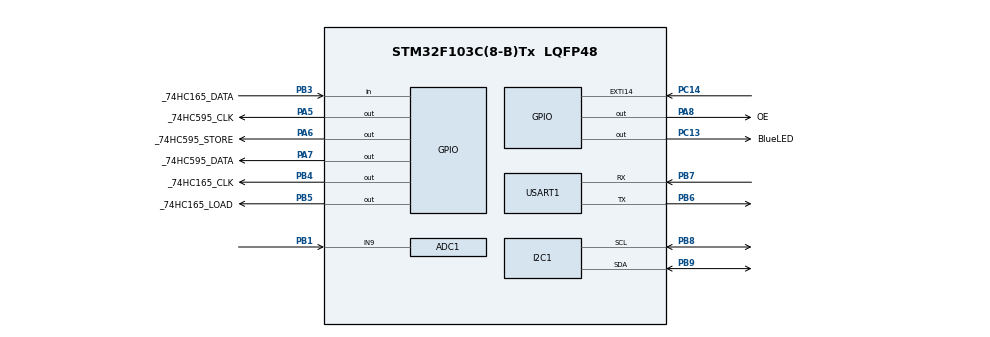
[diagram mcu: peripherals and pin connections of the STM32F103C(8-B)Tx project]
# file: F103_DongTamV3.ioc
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ADC1.Channel-0\#ChannelRegularConversion=ADC_CHANNEL_9
ADC1.NbrOfConversionFlag=1
ADC1.Rank-0\#ChannelRegularConversion=1
ADC1.SamplingTime-0\#ChannelRegularConversion=ADC_SAMPLETIME_1CYCLE_5
ADC1.master=1
IWDG.Prescaler=IWDG_PRESCALER_16
IWDG.Reload=2500-1
Mcu.Family=STM32F1
Mcu.Name=STM32F103C(8-B)Tx
Mcu.Package=LQFP48
NVIC.EXTI15_10_IRQn=true\:0\:0\:false\:false\:true\:true\:true\:true
NVIC.PriorityGroup=NVIC_PRIORITYGROUP_4
NVIC.TIM3_IRQn=true\:0\:0\:false\:false\:true\:true\:true\:true
NVIC.USART1_IRQn=true\:0\:0\:false\:false\:true\:true\:true\:true
PA13.Mode=Serial_Wire
PA13.Signal=SYS_JTMS-SWDIO
PA14.Mode=Serial_Wire
PA14.Signal=SYS_JTCK-SWCLK
PA5.GPIO_Label=_74HC595_CLK
PA5.Signal=GPIO_Output
PA6.GPIO_Label=_74HC595_STORE
PA6.Signal=GPIO_Output
PA7.GPIO_Label=_74HC595_DATA
PA7.Signal=GPIO_Output
PA8.GPIO_Label=OE
PA8.Signal=GPIO_Output
PB1.Signal=ADCx_IN9
PB3.GPIO_Label=_74HC165_DATA
PB3.Signal=GPIO_Input
PB4.GPIO_Label=_74HC165_CLK
PB4.Signal=GPIO_Output
PB5.GPIO_Label=_74HC165_LOAD
PB5.Signal=GPIO_Output
PB6.Mode=Asynchronous
PB6.Signal=USART1_TX
PB7.Mode=Asynchronous
PB7.Signal=USART1_RX
PB8.Mode=I2C
PB8.Signal=I2C1_SCL
PB9.Mode=I2C
PB9.Signal=I2C1_SDA
PC13-TAMPER-RTC.GPIO_Label=BlueLED
PC13-TAMPER-RTC.Signal=GPIO_Output
PC14-OSC32_IN.GPIO_ModeDefaultEXTI=GPIO_MODE_IT_FALLING
PC14-OSC32_IN.Signal=GPXTI14
ProjectManager.HeapSize=0x200
ProjectManager.StackSize=0x400
ProjectManager.TargetToolchain=STM32CubeIDE
RCC.APB1Freq_Value=8000000
RCC.APB2Freq_Value=8000000
SH.ADCx_IN9.0=ADC1_IN9,IN9
TIM3.Period=10000-1
TIM3.Prescaler=8-1
USART1.VirtualMode=VM_ASYNC
VP_IWDG_VS_IWDG.Mode=IWDG_Activate
VP_TIM3_VS_ClockSourceINT.Mode=Internal
board=custom

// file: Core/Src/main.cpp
/* USER CODE BEGIN Header */
/**
 ******************************************************************************
 * @file           : main.c
 * @brief          : Main program body
 ******************************************************************************
 * @attention
 *
 * Copyright (c) 2024 STMicroelectronics.
 * All rights reserved.
 *
 * This software is licensed under terms that can be found in the LICENSE file
 * in the root directory of this software component.
 * If no LICENSE file comes with this software, it is provided AS-IS.
 *
 ******************************************************************************
 */
/* USER CODE END Header */
#include "main.h"

/* USER CODE BEGIN Includes */
#include <Protocol.h>
#include "string.h"
#include "74HC595.h"
#include "74HC165.h"
#include "AMS5915.h"
#include <ValveControlProcess.h>
#include "PCF8563.h"
#include "MessageHandle.h"
#include "RTC_Format.h"
/* USER CODE END Includes */

/* USER CODE BEGIN PTD */
#define UPDATE_TIME_RTC_TICK 3600
/* USER CODE END PTD */

ADC_HandleTypeDef hadc1;

I2C_HandleTypeDef hi2c1;

IWDG_HandleTypeDef hiwdg;

TIM_HandleTypeDef htim3;

UART_HandleTypeDef huart1;

/* USER CODE BEGIN PV */
uint8_t a[1] = {0};
ValveControl vc;
PCF8563 pcf;
AMS5915 ams;
RTC_t tCurrent, tPCF8563;
extern MessageHandle mesg;
uint32_t rtcTick_s = 0;
uint8_t pressureCount = 0;
uint8_t rtcCount = 0;
bool enableGetRTC = false;
bool enableSetRTC = false;
bool error = false;
ValveFeedback vf;
/* USER CODE END PV */

void SystemClock_Config(void);
static void MX_GPIO_Init(void);
static void MX_TIM3_Init(void);
static void MX_USART1_UART_Init(void);
static void MX_ADC1_Init(void);
static void MX_I2C1_Init(void);
static void MX_IWDG_Init(void);

/* USER CODE BEGIN 0 */
RTC_t GetCurrentTimeFromTick(RTC_t timeFromRTC, uint32_t tick) {
	RTC_t currentRTC;
	currentRTC.second = timeFromRTC.second;
	currentRTC.minute = timeFromRTC.minute;
	currentRTC.hour = timeFromRTC.hour;
	currentRTC.day = timeFromRTC.day;
	currentRTC.weekday = timeFromRTC.weekday;
	currentRTC.month = timeFromRTC.month;
	currentRTC.year = timeFromRTC.year;

	currentRTC.second += RTC_ConvertTickElapsedToSecond(tick);
	currentRTC.minute += RTC_ConvertTickElapsedToMinute(tick);
	currentRTC.hour += RTC_ConvertTickElapsedToHour(tick);

	if (currentRTC.second > 59) {
		currentRTC.second -= 60;
		currentRTC.minute++;
	}
	if (currentRTC.minute > 59) {
		currentRTC.minute -= 60;
		currentRTC.hour++;
	}
	if (currentRTC.hour > 23) {
		currentRTC.hour -= 24;
		currentRTC.day++;
		currentRTC.weekday++;
	}
	return currentRTC;
}

void HAL_UART_RxCpltCallback(UART_HandleTypeDef *huart) {
	mesg.HandleFramDataInterrupt(huart);
}

void HAL_UART_ErrorCallback(UART_HandleTypeDef *huart) {
	error = 1;
	if (huart == &huart1) {
		__HAL_UART_CLEAR_OREFLAG(huart);
		__HAL_UART_DISABLE(huart);

	}
}

void HAL_GPIO_EXTI_Callback(uint16_t GPIO_Pin) {
	if (GPIO_Pin == GPIO_PIN_14) {
		// one tick = 1 second
		if (rtcTick_s > UPDATE_TIME_RTC_TICK) {
			tPCF8563 = pcf.ReadTimeRegisters();
			rtcTick_s = 0;
		}
		else
			rtcTick_s++;
	}
}

void HAL_TIM_PeriodElapsedCallback(TIM_HandleTypeDef *htim) {
	if (htim->Instance == TIM3) {
		if (vc.IsOnProcess())
			vc.IncreaseTick();
		rtcCount++;
		pressureCount++;
		if (rtcCount >= 100) {
			tCurrent = GetCurrentTimeFromTick(tPCF8563, rtcTick_s);
			mesg.SendFrame((uint8_t) PROTOCOL_ID_RTC_TIME, SET_DATA_TO_THIS_DEVICE);
			rtcCount = 0;
		}
		if (pressureCount >= 150) {
			float pressureAMS5915 = ams.GetPressure();
			HAL_ADC_Start(&hadc1);
			float pressureSP100 = (float) HAL_ADC_GetValue(&hadc1) / (float) 4096;
			mesg.UpdatePressureAndSend(&huart1, pressureAMS5915, pressureSP100);
			pressureCount = 0;
		}
	}
}

void EnableGetRTC() {
	if (enableGetRTC) {
		tPCF8563 = pcf.ReadTimeRegisters();
		enableGetRTC = false;
	}
}

void EnableSetRTC() {
	if (enableSetRTC) {
		pcf.WriteTimeRegisters(tPCF8563);
		enableSetRTC = false;
	}
}

/* USER CODE END 0 */

int main(void) {

	/* MCU Configuration--------------------------------------------------------*/

	/* Reset of all peripherals, Initializes the Flash interface and the Systick. */
	HAL_Init();

	/* Configure the system clock */
	SystemClock_Config();

	/* Initialize all configured peripherals */
	MX_GPIO_Init();
	MX_TIM3_Init();
	MX_USART1_UART_Init();
	MX_ADC1_Init();
	MX_I2C1_Init();
	MX_IWDG_Init();
	/* USER CODE BEGIN 2 */
	ams.Begin(&hi2c1);
	pcf.Begin(&hi2c1);
	tPCF8563 = pcf.ReadTimeRegisters();
	mesg.Begin(&huart1, NULL);
	mesg.RegisterArgument((void*) &tCurrent, sizeof(RTC_t), PROTOCOL_ID_RTC_TIME);
	vf.GetInputValue();
//	vc.StartValveProcess();
	HAL_TIM_Base_Start_IT(&htim3);
	HAL_GPIO_WritePin(BlueLED_GPIO_Port, BlueLED_Pin, GPIO_PIN_SET);
	HAL_Delay(500);
	HAL_GPIO_WritePin(BlueLED_GPIO_Port, BlueLED_Pin, GPIO_PIN_RESET);
	/* USER CODE END 2 */

	/* Infinite loop */
	/* USER CODE BEGIN WHILE */
	while (1) {
		HAL_IWDG_Refresh(&hiwdg);
		vc.ValveProcessRun();
		if (vc.IsAllowToSendValveData() == true) {
			ValveData vData;
			vData.valveStatus = vc.GetValveStatus();
			vData.currentValveTrigger = vc.GetCurrentTriggerValve();
			mesg.SendFrame((void*) &vData, sizeof(ValveData), PROTOCOL_ID_VALVE, SET_DATA_TO_THIS_DEVICE);
			vc.NotAllowSendValveData();
		}
		EnableGetRTC();
		EnableSetRTC();
		if ((huart1.Instance->CR1 & USART_CR1_UE) == 0) {
			__HAL_UART_ENABLE(&huart1);
			HAL_UART_Receive_IT(&huart1, mesg.GetPtrRxBuffer(), 1);
		}
		if (error) {
		}
		/* USER CODE END WHILE */

	}
}

void SystemClock_Config(void) {
	RCC_OscInitTypeDef RCC_OscInitStruct = {0};
	RCC_ClkInitTypeDef RCC_ClkInitStruct = {0};
	RCC_PeriphCLKInitTypeDef PeriphClkInit = {0};

	/** Initializes the RCC Oscillators according to the specified parameters
	 * in the RCC_OscInitTypeDef structure.
	 */
	RCC_OscInitStruct.OscillatorType = RCC_OSCILLATORTYPE_HSI | RCC_OSCILLATORTYPE_LSI;
	RCC_OscInitStruct.HSIState = RCC_HSI_ON;
	RCC_OscInitStruct.HSICalibrationValue = RCC_HSICALIBRATION_DEFAULT;
	RCC_OscInitStruct.LSIState = RCC_LSI_ON;
	RCC_OscInitStruct.PLL.PLLState = RCC_PLL_NONE;
	if (HAL_RCC_OscConfig(&RCC_OscInitStruct) != HAL_OK) {
		Error_Handler();
	}

	/** Initializes the CPU, AHB and APB buses clocks
	 */
	RCC_ClkInitStruct.ClockType = RCC_CLOCKTYPE_HCLK | RCC_CLOCKTYPE_SYSCLK | RCC_CLOCKTYPE_PCLK1 | RCC_CLOCKTYPE_PCLK2;
	RCC_ClkInitStruct.SYSCLKSource = RCC_SYSCLKSOURCE_HSI;
	RCC_ClkInitStruct.AHBCLKDivider = RCC_SYSCLK_DIV1;
	RCC_ClkInitStruct.APB1CLKDivider = RCC_HCLK_DIV1;
	RCC_ClkInitStruct.APB2CLKDivider = RCC_HCLK_DIV1;

	if (HAL_RCC_ClockConfig(&RCC_ClkInitStruct, FLASH_LATENCY_0) != HAL_OK) {
		Error_Handler();
	}
	PeriphClkInit.PeriphClockSelection = RCC_PERIPHCLK_ADC;
	PeriphClkInit.AdcClockSelection = RCC_ADCPCLK2_DIV2;
	if (HAL_RCCEx_PeriphCLKConfig(&PeriphClkInit) != HAL_OK) {
		Error_Handler();
	}
}

static void MX_ADC1_Init(void) {

	ADC_ChannelConfTypeDef sConfig = {0};

	/** Common config
	 */
	hadc1.Instance = ADC1;
	hadc1.Init.ScanConvMode = ADC_SCAN_DISABLE;
	hadc1.Init.ContinuousConvMode = DISABLE;
	hadc1.Init.DiscontinuousConvMode = DISABLE;
	hadc1.Init.ExternalTrigConv = ADC_SOFTWARE_START;
	hadc1.Init.DataAlign = ADC_DATAALIGN_RIGHT;
	hadc1.Init.NbrOfConversion = 1;
	if (HAL_ADC_Init(&hadc1) != HAL_OK) {
		Error_Handler();
	}

	/** Configure Regular Channel
	 */
	sConfig.Channel = ADC_CHANNEL_9;
	sConfig.Rank = ADC_REGULAR_RANK_1;
	sConfig.SamplingTime = ADC_SAMPLETIME_1CYCLE_5;
	if (HAL_ADC_ConfigChannel(&hadc1, &sConfig) != HAL_OK) {
		Error_Handler();
	}

}

static void MX_I2C1_Init(void) {

	hi2c1.Instance = I2C1;
	hi2c1.Init.ClockSpeed = 100000;
	hi2c1.Init.DutyCycle = I2C_DUTYCYCLE_2;
	hi2c1.Init.OwnAddress1 = 0;
	hi2c1.Init.AddressingMode = I2C_ADDRESSINGMODE_7BIT;
	hi2c1.Init.DualAddressMode = I2C_DUALADDRESS_DISABLE;
	hi2c1.Init.OwnAddress2 = 0;
	hi2c1.Init.GeneralCallMode = I2C_GENERALCALL_DISABLE;
	hi2c1.Init.NoStretchMode = I2C_NOSTRETCH_DISABLE;
	if (HAL_I2C_Init(&hi2c1) != HAL_OK) {
		Error_Handler();
	}

}

static void MX_IWDG_Init(void) {

	hiwdg.Instance = IWDG;
	hiwdg.Init.Prescaler = IWDG_PRESCALER_16;
	hiwdg.Init.Reload = 2500 - 1;
	if (HAL_IWDG_Init(&hiwdg) != HAL_OK) {
		Error_Handler();
	}

}

static void MX_TIM3_Init(void) {

	TIM_ClockConfigTypeDef sClockSourceConfig = {0};
	TIM_MasterConfigTypeDef sMasterConfig = {0};

	htim3.Instance = TIM3;
	htim3.Init.Prescaler = 8 - 1;
	htim3.Init.CounterMode = TIM_COUNTERMODE_UP;
	htim3.Init.Period = 10000 - 1;
	htim3.Init.ClockDivision = TIM_CLOCKDIVISION_DIV1;
	htim3.Init.AutoReloadPreload = TIM_AUTORELOAD_PRELOAD_DISABLE;
	if (HAL_TIM_Base_Init(&htim3) != HAL_OK) {
		Error_Handler();
	}
	sClockSourceConfig.ClockSource = TIM_CLOCKSOURCE_INTERNAL;
	if (HAL_TIM_ConfigClockSource(&htim3, &sClockSourceConfig) != HAL_OK) {
		Error_Handler();
	}
	sMasterConfig.MasterOutputTrigger = TIM_TRGO_RESET;
	sMasterConfig.MasterSlaveMode = TIM_MASTERSLAVEMODE_DISABLE;
	if (HAL_TIMEx_MasterConfigSynchronization(&htim3, &sMasterConfig) != HAL_OK) {
		Error_Handler();
	}

}

static void MX_USART1_UART_Init(void) {

	huart1.Instance = USART1;
	huart1.Init.BaudRate = 115200;
	huart1.Init.WordLength = UART_WORDLENGTH_8B;
	huart1.Init.StopBits = UART_STOPBITS_1;
	huart1.Init.Parity = UART_PARITY_NONE;
	huart1.Init.Mode = UART_MODE_TX_RX;
	huart1.Init.HwFlowCtl = UART_HWCONTROL_NONE;
	huart1.Init.OverSampling = UART_OVERSAMPLING_16;
	if (HAL_UART_Init(&huart1) != HAL_OK) {
		Error_Handler();
	}

}

static void MX_GPIO_Init(void) {
	GPIO_InitTypeDef GPIO_InitStruct = {0};

	/* GPIO Ports Clock Enable */
	__HAL_RCC_GPIOC_CLK_ENABLE();
	__HAL_RCC_GPIOA_CLK_ENABLE();
	__HAL_RCC_GPIOB_CLK_ENABLE();

	/*Configure GPIO pin Output Level */
	HAL_GPIO_WritePin(BlueLED_GPIO_Port, BlueLED_Pin, GPIO_PIN_RESET);

	/*Configure GPIO pin Output Level */
	HAL_GPIO_WritePin(GPIOA, _74HC595_CLK_Pin | _74HC595_STORE_Pin | _74HC595_DATA_Pin | OE_Pin, GPIO_PIN_RESET);

	/*Configure GPIO pin Output Level */
	HAL_GPIO_WritePin(GPIOB, _74HC165_CLK_Pin | _74HC165_LOAD_Pin, GPIO_PIN_RESET);

	/*Configure GPIO pin : BlueLED_Pin */
	GPIO_InitStruct.Pin = BlueLED_Pin;
	GPIO_InitStruct.Mode = GPIO_MODE_OUTPUT_PP;
	GPIO_InitStruct.Pull = GPIO_NOPULL;
	GPIO_InitStruct.Speed = GPIO_SPEED_FREQ_LOW;
	HAL_GPIO_Init(BlueLED_GPIO_Port, &GPIO_InitStruct);

	/*Configure GPIO pin : PC14 */
	GPIO_InitStruct.Pin = GPIO_PIN_14;
	GPIO_InitStruct.Mode = GPIO_MODE_IT_FALLING;
	GPIO_InitStruct.Pull = GPIO_NOPULL;
	HAL_GPIO_Init(GPIOC, &GPIO_InitStruct);

	/*Configure GPIO pins : _74HC595_CLK_Pin _74HC595_STORE_Pin _74HC595_DATA_Pin OE_Pin */
	GPIO_InitStruct.Pin = _74HC595_CLK_Pin | _74HC595_STORE_Pin | _74HC595_DATA_Pin | OE_Pin;
	GPIO_InitStruct.Mode = GPIO_MODE_OUTPUT_PP;
	GPIO_InitStruct.Pull = GPIO_NOPULL;
	GPIO_InitStruct.Speed = GPIO_SPEED_FREQ_LOW;
	HAL_GPIO_Init(GPIOA, &GPIO_InitStruct);

	/*Configure GPIO pin : _74HC165_DATA_Pin */
	GPIO_InitStruct.Pin = _74HC165_DATA_Pin;
	GPIO_InitStruct.Mode = GPIO_MODE_INPUT;
	GPIO_InitStruct.Pull = GPIO_NOPULL;
	HAL_GPIO_Init(_74HC165_DATA_GPIO_Port, &GPIO_InitStruct);

	/*Configure GPIO pins : _74HC165_CLK_Pin _74HC165_LOAD_Pin */
	GPIO_InitStruct.Pin = _74HC165_CLK_Pin | _74HC165_LOAD_Pin;
	GPIO_InitStruct.Mode = GPIO_MODE_OUTPUT_PP;
	GPIO_InitStruct.Pull = GPIO_NOPULL;
	GPIO_InitStruct.Speed = GPIO_SPEED_FREQ_LOW;
	HAL_GPIO_Init(GPIOB, &GPIO_InitStruct);

	/* EXTI interrupt init*/
	HAL_NVIC_SetPriority(EXTI15_10_IRQn, 0, 0);
	HAL_NVIC_EnableIRQ(EXTI15_10_IRQn);

}

void Error_Handler(void) {
	__disable_irq();
	while (1) {
	}
}
